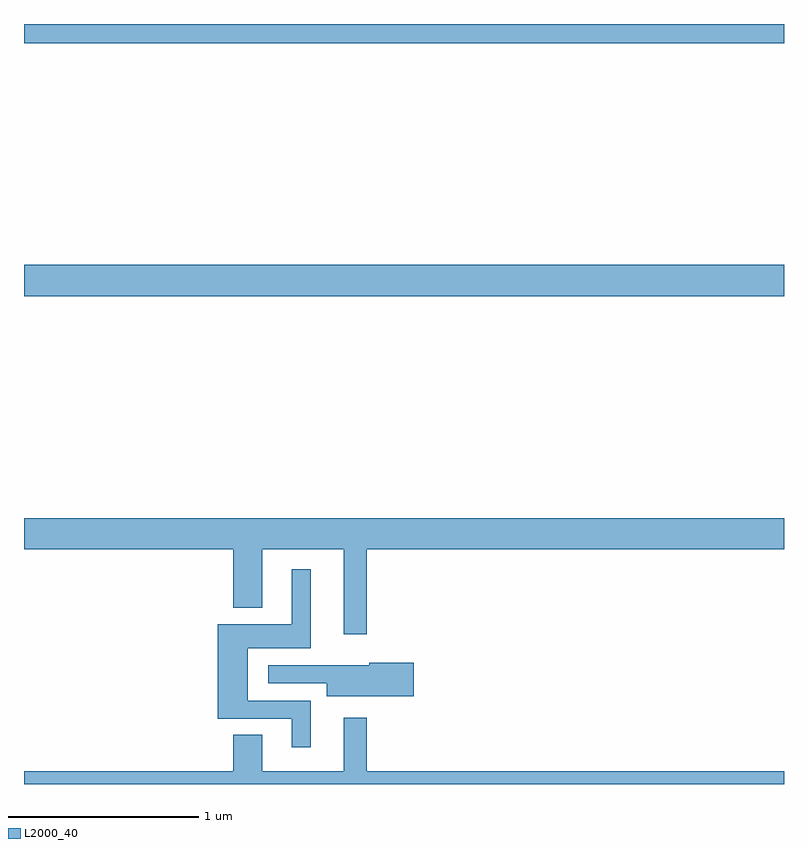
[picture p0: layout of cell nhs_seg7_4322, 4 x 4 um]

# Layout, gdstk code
import gdstk
lib = gdstk.Library(unit=1e-6, precision=1e-09)
def R(c, l, rs):  # rectangles x0, y0, x1, y1
    for r in rs: c.add(gdstk.rectangle(r[:2], r[2:], *l))
def P(c, l, *ps):  # polygons
    for p in ps: c.add(gdstk.Polygon(p, *l))
L2000_40 = (2000, 40)

nhs_seg7_4322 = lib.new_cell('nhs_seg7_4322')
R(nhs_seg7_4322, L2000_40, [(383,1048.568,387,1048.732), (383,1049.9,387,1050)])
P(nhs_seg7_4322, L2000_40, [(384.805,1047.236),(387,1047.236),(387,1047.4),(383,1047.4),(383,1047.236),(384.101,1047.236),(384.101,1046.927),(384.253,1046.927),(384.253,1047.236),(384.683,1047.236),(384.683,1046.787),(384.805,1046.787)],
  [(384.508,1046.439),(384.178,1046.439),(384.178,1046.714),(384.508,1046.714),(384.508,1047.13),(384.41,1047.13),(384.41,1046.842),(384.02,1046.842),(384.02,1046.343),(384.41,1046.343),(384.41,1046.193),(384.508,1046.193)],
  [(385.051,1046.639),(384.816,1046.639),(384.816,1046.626),(384.597,1046.626),(384.597,1046.625),(384.285,1046.625),(384.285,1046.529),(384.593,1046.529),(384.593,1046.461),(385.051,1046.461)],
  [(387,1046.068),(384.805,1046.068),(384.805,1046.35),(384.683,1046.35),(384.683,1046.068),(384.253,1046.068),(384.253,1046.258),(384.101,1046.258),(384.101,1046.068),(383,1046.068),(383,1046),(387,1046)])

lib.write_gds('nhs_seg7_4322.gds')
